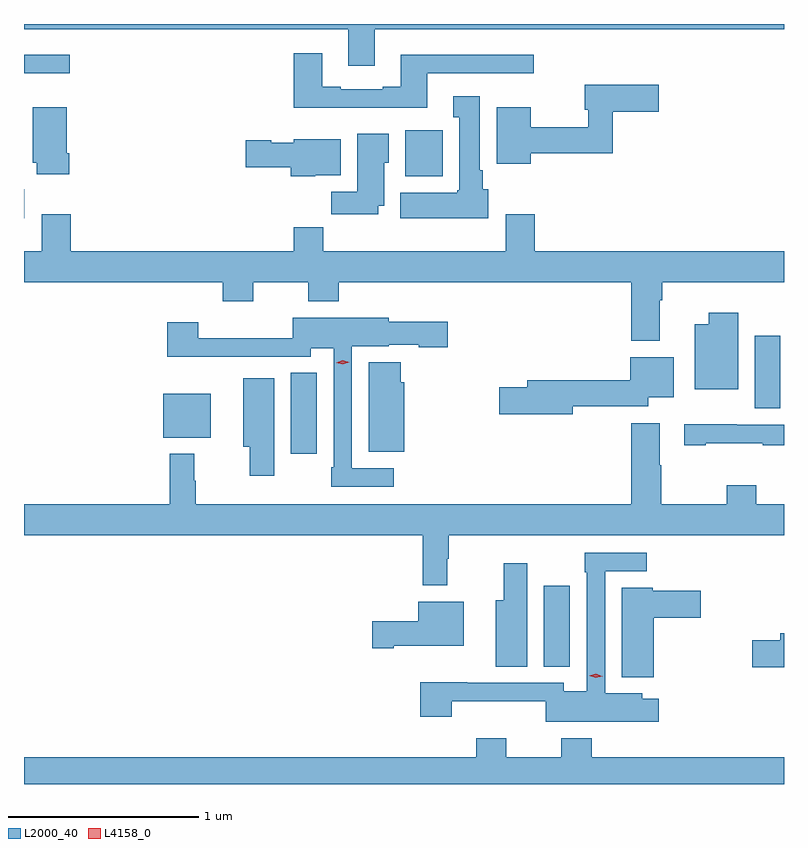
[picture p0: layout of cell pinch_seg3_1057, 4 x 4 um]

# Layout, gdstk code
import gdstk
lib = gdstk.Library(unit=1e-6, precision=1e-09)
def R(c, l, rs):  # rectangles x0, y0, x1, y1
    for r in rs: c.add(gdstk.rectangle(r[:2], r[2:], *l))
def P(c, l, *ps):  # polygons
    for p in ps: c.add(gdstk.Polygon(p, *l))
L2000_40 = (2000, 40)
L4158_0 = (4158, 0)

pinch_seg3_1057 = lib.new_cell('pinch_seg3_1057')
R(pinch_seg3_1057, L2000_40, [(278.792,742.849,278.929,743.275), (277.46,743.97,277.597,744.395), (276.788,744.053,277.039,744.286), (279.902,744.208,280.036,744.589), (276.056,745.208,276.058,745.362), (278.063,745.43,278.26,745.672), (276.056,745.971,276.298,746.068)])
P(pinch_seg3_1057, L2000_40, [(277.903,746.204),(280.056,746.204),(280.056,746.231),(276.056,746.231),(276.056,746.204),(277.763,746.204),(277.763,746.01),(277.903,746.01)],
  [(278.179,745.971),(278.74,745.971),(278.74,746.068),(278.039,746.068),(278.039,745.9),(277.943,745.9),(277.943,745.887),(277.723,745.887),(277.723,745.9),(277.627,745.9),(277.627,746.077),(277.475,746.077),(277.475,745.79),(278.179,745.79)],
  [(278.722,745.552),(279.155,745.552),(279.155,745.769),(279.397,745.769),(279.397,745.911),(279.008,745.911),(279.008,745.781),(279.027,745.781),(279.027,745.688),(278.722,745.688),(278.722,745.792),(278.543,745.792),(278.543,745.496),(278.722,745.496)],
  [(278.5,745.362),(278.47,745.362),(278.47,745.462),(278.455,745.462),(278.455,745.852),(278.315,745.852),(278.315,745.739),(278.348,745.739),(278.348,745.356),(278.335,745.356),(278.335,745.342),(278.036,745.342),(278.036,745.208),(278.5,745.208)],
  [(276.293,745.552),(276.28,745.552),(276.28,745.792),(276.101,745.792),(276.101,745.5),(276.122,745.5),(276.122,745.44),(276.293,745.44)],
  [(277.921,745.274),(277.951,745.274),(277.951,745.5),(277.975,745.5),(277.975,745.654),(277.811,745.654),(277.811,745.348),(277.672,745.348),(277.672,745.23),(277.921,745.23)],
  [(277.59,745.436),(277.723,745.436),(277.723,745.624),(277.476,745.624),(277.476,745.606),(277.356,745.606),(277.356,745.619),(277.224,745.619),(277.224,745.477),(277.46,745.477),(277.46,745.43),(277.59,745.43)],
  [(279.403,744.776),(279.416,744.776),(279.416,744.872),(280.056,744.872),(280.056,745.036),(278.744,745.036),(278.744,745.231),(278.591,745.231),(278.591,745.036),(277.631,745.036),(277.631,745.16),(277.475,745.16),(277.475,745.036),(276.302,745.036),(276.302,745.231),(276.149,745.231),(276.149,745.036),(276.056,745.036),(276.056,744.872),(277.103,744.872),(277.103,744.773),(277.263,744.773),(277.263,744.872),(277.552,744.872),(277.552,744.773),(277.712,744.773),(277.712,744.872),(279.251,744.872),(279.251,744.563),(279.403,744.563)],
  [(279.814,744.712),(279.659,744.712),(279.659,744.652),(279.587,744.652),(279.587,744.308),(279.814,744.308)],
  [(278.002,743.892),(277.782,743.892),(277.782,744.536),(277.977,744.536),(277.977,744.542),(278.134,744.542),(278.134,744.53),(278.287,744.53),(278.287,744.664),(277.977,744.664),(277.977,744.685),(277.47,744.685),(277.47,744.578),(276.974,744.578),(276.974,744.661),(276.809,744.661),(276.809,744.479),(277.057,744.479),(277.057,744.48),(277.566,744.48),(277.566,744.524),(277.686,744.524),(277.686,743.899),(277.674,743.899),(277.674,743.796),(278.002,743.796)],
  [(278.944,744.22),(279.342,744.22),(279.342,744.266),(279.475,744.266),(279.475,744.478),(279.248,744.478),(279.248,744.356),(278.705,744.356),(278.705,744.32),(278.556,744.32),(278.556,744.178),(278.944,744.178)],
  [(278.056,744.345),(278.038,744.345),(278.038,744.451),(277.871,744.451),(277.871,743.981),(278.056,743.981)],
  [(277.372,744.367),(277.211,744.367),(277.211,744.005),(277.243,744.005),(277.243,743.853),(277.372,743.853)],
  [(278.284,743.417),(278.291,743.417),(278.291,743.54),(280.056,743.54),(280.056,743.704),(279.909,743.704),(279.909,743.803),(279.754,743.803),(279.754,743.704),(279.411,743.704),(279.411,743.909),(279.403,743.909),(279.403,744.13),(279.251,744.13),(279.251,743.704),(276.959,743.704),(276.959,743.828),(276.952,743.828),(276.952,743.968),(276.823,743.968),(276.823,743.704),(276.056,743.704),(276.056,743.54),(278.155,743.54),(278.155,743.277),(278.284,743.277)],
  [(279.643,744.025),(279.943,744.025),(279.943,744.015),(280.056,744.015),(280.056,744.123),(279.806,744.123),(279.806,744.125),(279.531,744.125),(279.531,744.015),(279.643,744.015)],
  [(279.397,742.681),(279.309,742.681),(279.309,742.708),(279.114,742.708),(279.114,743.352),(279.334,743.352),(279.334,743.448),(279.006,743.448),(279.006,743.345),(279.018,743.345),(279.018,742.72),(278.898,742.72),(278.898,742.764),(278.389,742.764),(278.389,742.766),(278.141,742.766),(278.141,742.584),(278.306,742.584),(278.306,742.667),(278.802,742.667),(278.802,742.559),(279.397,742.559)],
  [(278.704,743.392),(278.582,743.392),(278.582,743.197),(278.54,743.197),(278.54,742.849),(278.704,742.849)],
  [(279.37,743.105),(279.619,743.105),(279.619,743.247),(279.366,743.247),(279.366,743.263),(279.203,743.263),(279.203,742.793),(279.37,742.793)],
  [(278.002,742.958),(278.371,742.958),(278.371,743.191),(278.132,743.191),(278.132,743.088),(277.89,743.088),(277.89,742.946),(278.002,742.946)],
  [(280.056,743.024),(280.037,743.024),(280.037,742.988),(279.888,742.988),(279.888,742.846),(280.056,742.846)],
  [(280.056,742.372),(279.044,742.372),(279.044,742.471),(278.884,742.471),(278.884,742.372),(278.595,742.372),(278.595,742.471),(278.435,742.471),(278.435,742.372),(276.056,742.372),(276.056,742.231),(280.056,742.231)])
P(pinch_seg3_1057, L4158_0, [(277.734,744.44),(277.699,744.449),(277.699,744.449),(277.699,744.449),(277.733,744.46),(277.768,744.452),(277.768,744.451),(277.768,744.451)],
  [(279.065,742.79),(279.031,742.8),(279.03,742.8),(279.031,742.8),(279.066,742.81),(279.1,742.799),(279.101,742.799),(279.1,742.799)])

lib.write_gds('pinch_seg3_1057.gds')
